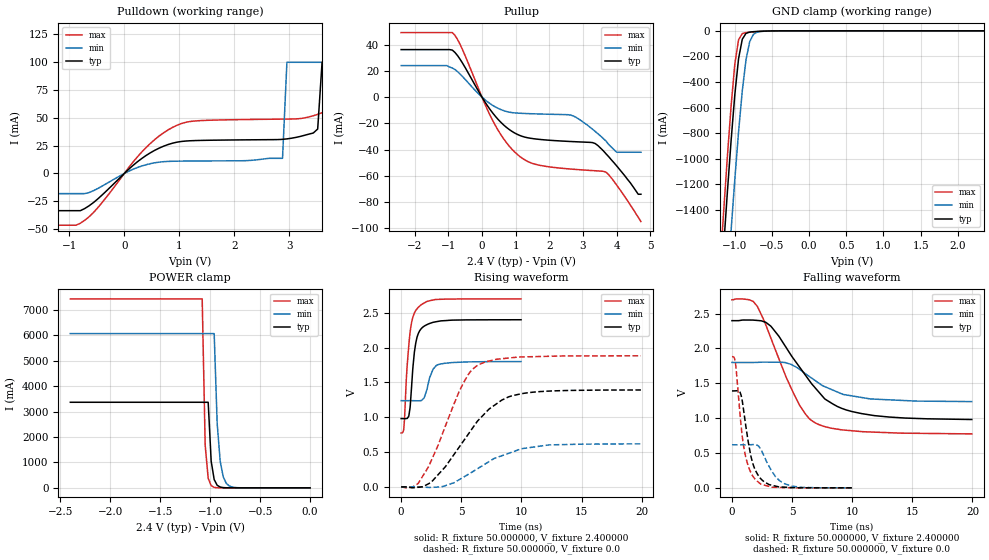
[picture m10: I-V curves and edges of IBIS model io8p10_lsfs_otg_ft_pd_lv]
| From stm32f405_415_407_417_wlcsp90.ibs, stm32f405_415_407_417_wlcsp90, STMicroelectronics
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|   Model io8p10_lsfs_otg_ft_pd_lv
[Model]  io8p10_lsfs_otg_ft_pd_lv
Model_type I/O
Polarity   Non-Inverting
Enable   Active-Low
Vinl =   0.720000V
Vinh =   1.680000V
Vmeas =  1.200000V
Cref =   40.000000pF
Rref =   100.000000M
Vref =   0.0V
C_comp   7.971100pF   7.737700pF   8.264100pF
[Temperature Range]   25.000000   0.125000k   -40.000000
[Pullup Reference]   2.400000V   1.800000V   2.700000V
[Pulldown Reference]   0.0V   0.0V   0.0V
[POWER Clamp Reference]   2.400000V   1.800000V   2.700000V
[GND Clamp Reference]   0.0V   0.0V   0.0V
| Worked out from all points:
|   slope of the pulldown table from 0 to 0.36 V, typ, clamps not added: 24.1 ohm
|   slope of the pullup table from 0 to 0.36 V, typ, clamps not added: 26.8 ohm
|   GND clamp passes 1 mA (typ) near -0.52 V on its own axis
|   POWER clamp passes 1 mA (typ) near -0.81 V on its own axis
|   rising waveform, R_fixture 50.000000, V_fixture 2.400000: 20-80 % time 481ps typ, 597ps min, 492ps max; typ from 0.981 V to 2.4 V
|   rising waveform, R_fixture 50.000000, V_fixture 0.0: 20-80 % time 3.67ns typ, 4.11ns min, 2.72ns max; typ from 0 V to 1.39 V
|   falling waveform, R_fixture 50.000000, V_fixture 2.400000: 20-80 % time 3.7ns typ, 3.39ns min, 2.85ns max; typ from 2.4 V to 0.981 V
|   falling waveform, R_fixture 50.000000, V_fixture 0.0: 20-80 % time 913ps typ, 1.27ns min, 796ps max; typ from 1.39 V to 0 V
[Pulldown]
|Voltage   I(typ)   I(min)   I(max)
-2.4V     -33.44mA   -18.12mA   -46.52mA
-800mV    -33.44mA   -18.12mA   -44.78mA
1.04V     28.81mA    11.14mA    44.91mA
2.88V     30.7mA     13.64mA    48.89mA
2.96V     31.11mA    100mA      48.94mA
3.52V     40mA       100mA      53.15mA
3.6V      100mA      100mA      54.65mA
3.92V     100mA      100mA      60mA
4V        100mA      100mA      100mA
4.4V      100mA      100mA      100mA
4.48V     100mA      100mA      1A
4.8V      100mA      100mA      1A
[Pullup]
|Voltage   I(typ)   I(min)   I(max)
-2.4V     36.2mA     24mA       49.16mA
-880mV    35.81mA    22.16mA    49.16mA
-640mV    28.47mA    17.31mA    39.62mA
320mV     -12.14mA   -6.322mA   -17.91mA
960mV     -27.18mA   -12mA      -41.54mA
1.52V     -31.65mA   -12.71mA   -50.68mA
2.64V     -33.82mA   -13.73mA   -54.81mA
3.36V     -35.34mA   -26.1mA    -56.1mA
3.68V     -43.1mA    -33.4mA    -57.12mA
4V        -52.4mA    -42mA      -67mA
4.64V     -74mA      -42mA      -91.5mA
4.72V     -74mA      -42mA      -94.8mA
[GND_clamp]
|Voltage   I(typ)   I(min)   I(max)
-2.4V     -9.765A    -9.942A    -9.572A
-1.2V     -2.124A    -2.851A    -1.855A
-1.15V    -1.682A    -2.408A    -1.408A
-1.1V     -1.256A    -1.975A    -979.8mA
-1.05V    -854.9mA   -1.557A    -584.5mA
-1V       -496.5mA   -1.158A    -257.5mA
-950mV    -217.7mA   -789.7mA   -69.53mA
-900mV    -65.58mA   -469.8mA   -21.52mA
-850mV    -19.65mA   -226.4mA   -13.58mA
-800mV    -9.766mA   -84.22mA   -10.49mA
-700mV    -4.935mA   -9.894mA   -5.821mA
2.35V     58.09uA    37.92uA    67.25uA
[POWER_clamp]
|Voltage   I(typ)   I(min)   I(max)
-2.4V     3.365A     6.064A     7.43A
-1.08V    3.365A     6.064A     7.43A
-1.05V    3.365A     6.064A     1.669A
-1.02V    3.365A     6.064A     375mA
-990mV    1.047A     6.064A     84.24mA
-960mV    325.6mA    6.064A     18.93mA
-930mV    101.3mA    2.529A     4.252mA
-900mV    31.51mA    1.055A     955.2uA
-870mV    9.804mA    440.1mA    214.6uA
-840mV    3.05mA     183.6mA    74uA
-720mV    28.58uA    5.557mA    74uA
0V        0A         0A         0A
[Ramp]
| variable   typ   min   max
dV/dt_r  0.83466/3.66668n   0.37030/4.10403n   1.12872/2.71995n
dV/dt_f  0.84756/3.69409n   0.33672/3.41934n   1.15378/2.85235n
R_load = 50.000000
[Rising Waveform]
R_fixture= 50.000000
V_fixture= 2.400000
V_fixture_min= 1.800000
V_fixture_max= 2.700000
|time   V(typ)   V(min)   V(max)
0s        980.6mV    1.238V     774.7mV
220.2ps   980.3mV    1.238V     836.5mV
440.4ps   981.7mV    1.238V     1.574V
640.6ps   1.021V     1.238V     2.038V
820.8ps   1.322V     1.238V     2.313V
1.101ns   1.935V     1.237V     2.495V
1.421ns   2.198V     1.236V     2.576V
1.922ns   2.308V     1.281V     2.64V
2.963ns   2.372V     1.748V     2.691V
9.97ns    2.399V     1.799V     2.699V
[Rising Waveform]
R_fixture= 50.000000
V_fixture= 0.0
V_fixture_min= 0.0
V_fixture_max= 0.0
|time   V(typ)   V(min)   V(max)
0s        15.03uV    7.253uV    -90.55uV
1.441ns   -5.115mV   71.56uV    56.85mV
2.482ns   63.79mV    -7.425mV   369.3mV
3.483ns   252.8mV    6.391mV    784.4mV
5.165ns   654.2mV    138.1mV    1.487V
5.766ns   801.9mV    199.3mV    1.655V
6.527ns   976.4mV    280mV      1.76V
8.368ns   1.246V     447mV      1.84V
10.21ns   1.343V     553.1mV    1.866V
19.94ns   1.391V     617.3mV    1.881V
[Falling Waveform]
R_fixture= 50.000000
V_fixture= 2.400000
V_fixture_min= 1.800000
V_fixture_max= 2.700000
|time   V(typ)   V(min)   V(max)
0s        2.399V     1.799V     2.699V
1.441ns   2.408V     1.799V     2.699V
2.122ns   2.402V     1.8V       2.6V
3.243ns   2.318V     1.803V     2.145V
5.125ns   1.851V     1.752V     1.356V
6.126ns   1.612V     1.636V     1.055V
6.967ns   1.425V     1.533V     928.7mV
8.769ns   1.167V     1.375V     841.9mV
10.77ns   1.066V     1.297V     807.1mV
19.94ns   980.6mV    1.238V     774.7mV
[Falling Waveform]
R_fixture= 50.000000
V_fixture= 0.0
V_fixture_min= 0.0
V_fixture_max= 0.0
|time   V(typ)   V(min)   V(max)
0s        1.391V     617.3mV    1.881V
300.3ps   1.393V     617.3mV    1.777V
760.8ps   1.328V     617.2mV    887.3mV
1.041ns   1.022V     616.9mV    526.4mV
1.562ns   462.4mV    618.6mV    223.3mV
1.922ns   262.4mV    620.3mV    122.3mV
2.683ns   85.94mV    450.2mV    39.62mV
3.624ns   24.66mV    160.4mV    7.244mV
4.404ns   9.149mV    55.87mV    3.21mV
9.97ns    15.03uV    7.253uV    -90.55uV
